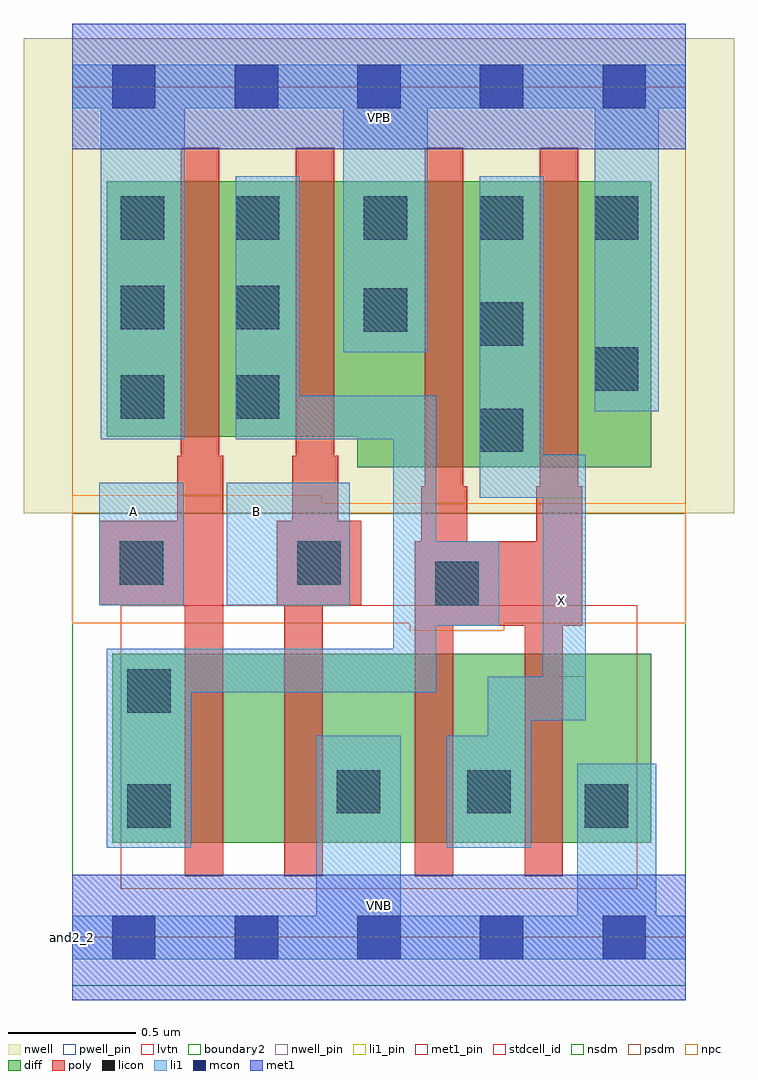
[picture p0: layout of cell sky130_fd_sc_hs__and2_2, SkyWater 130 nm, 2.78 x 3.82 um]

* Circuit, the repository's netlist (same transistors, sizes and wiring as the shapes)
* Copyright 2020 The SkyWater PDK Authors
*
* Licensed under the Apache License, Version 2.0 (the "License");
* you may not use this file except in compliance with the License.
* You may obtain a copy of the License at
*
*     https://www.apache.org/licenses/LICENSE-2.0
*
* Unless required by applicable law or agreed to in writing, software
* distributed under the License is distributed on an "AS IS" BASIS,
* WITHOUT WARRANTIES OR CONDITIONS OF ANY KIND, either express or implied.
* See the License for the specific language governing permissions and
* limitations under the License.
*
* SPDX-License-Identifier: Apache-2.0


.subckt sky130_fd_sc_hs__and2_2 A B VGND VNB VPB VPWR X
X0 a_31_74# B VPWR VPB sky130_fd_pr__pfet_01v8 w=1 l=150000u
X1 X a_31_74# VGND VNB sky130_fd_pr__nfet_01v8_lvt w=740000u l=150000u
X2 X a_31_74# VPWR VPB sky130_fd_pr__pfet_01v8 w=1.12 l=150000u
X3 a_118_74# B VGND VNB sky130_fd_pr__nfet_01v8_lvt w=740000u l=150000u
X4 a_31_74# A a_118_74# VNB sky130_fd_pr__nfet_01v8_lvt w=740000u l=150000u
X5 VPWR A a_31_74# VPB sky130_fd_pr__pfet_01v8 w=1 l=150000u
X6 VPWR a_31_74# X VPB sky130_fd_pr__pfet_01v8 w=1.12 l=150000u
X7 VGND a_31_74# X VNB sky130_fd_pr__nfet_01v8_lvt w=740000u l=150000u
.ends

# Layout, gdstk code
import gdstk
lib = gdstk.Library(unit=1e-6, precision=1e-09)
def R(c, l, rs):  # rectangles x0, y0, x1, y1
    for r in rs: c.add(gdstk.rectangle(r[:2], r[2:], *l))
def A(c, l, x, y, w, h, nx, ny, dx, dy):  # array of equal rectangles
    R(c, l, [(x+i*dx, y+j*dy, x+i*dx+w, y+j*dy+h) for i in range(nx) for j in range(ny)])
def P(c, l, *ps):  # polygons
    for p in ps: c.add(gdstk.Polygon(p, *l))
nwell_pin = (64, 16)
nwell = (64, 20)
diff = (65, 20)
poly = (66, 20)
licon = (66, 44)
li1_pin = (67, 16)
li1 = (67, 20)
mcon = (67, 44)
met1_pin = (68, 16)
met1 = (68, 20)
stdcell_id = (81, 4)
nsdm = (93, 44)
psdm = (94, 20)
npc = (95, 20)
pwell_pin = (122, 16)
lvtn = (125, 44)
boundary2 = (236, 0)

sky130_fd_sc_hs__and2_2 = lib.new_cell('sky130_fd_sc_hs__and2_2')
R(sky130_fd_sc_hs__and2_2, nwell_pin, [(0,3.085,2.4,3.33)])
R(sky130_fd_sc_hs__and2_2, nwell, [(-0.19,1.66,2.59,3.52)])
R(sky130_fd_sc_hs__and2_2, diff, [(0.155,0.37,2.265,1.11)])
P(sky130_fd_sc_hs__and2_2, diff, [(1.115,1.84),(1.115,1.96),(0.135,1.96),(0.135,2.96),(2.265,2.96),(2.265,1.84)])
P(sky130_fd_sc_hs__and2_2, poly, [(1.34,0.24),(1.34,1.55),(1.365,1.55),(1.365,1.765),(1.38,1.765),(1.38,3.09),(1.53,3.09),(1.53,1.765),(1.545,1.765),(1.545,1.55),(1.815,1.55),(1.815,1.765),(1.83,1.765),(1.83,3.09),(1.98,3.09),(1.98,1.765),(1.995,1.765),(1.995,1.22),(1.92,1.22),(1.92,0.24),(1.77,0.24),(1.77,1.22),(1.49,1.22),(1.49,0.24)],
  [(0.83,0.24),(0.83,1.3),(0.8,1.3),(0.8,1.63),(0.86,1.63),(0.86,1.885),(0.875,1.885),(0.875,3.09),(1.025,3.09),(1.025,1.885),(1.04,1.885),(1.04,1.63),(1.13,1.63),(1.13,1.3),(0.98,1.3),(0.98,0.24)],
  [(0.44,0.24),(0.44,1.3),(0.105,1.3),(0.105,1.63),(0.41,1.63),(0.41,1.885),(0.425,1.885),(0.425,3.09),(0.575,3.09),(0.575,1.885),(0.59,1.885),(0.59,0.24)])
A(sky130_fd_sc_hs__and2_2, licon, 1.595, 1.9, 0.17, 0.17, 1, 3, 0, 0.415)
A(sky130_fd_sc_hs__and2_2, licon, 0.19, 2.03, 0.17, 0.17, 1, 3, 0, 0.35)
A(sky130_fd_sc_hs__and2_2, licon, 0.64, 2.03, 0.17, 0.17, 1, 3, 0, 0.35)
R(sky130_fd_sc_hs__and2_2, licon, [(0.215,0.43,0.385,0.6), (2.005,0.43,2.175,0.6), (1.035,0.485,1.205,0.655), (1.545,0.485,1.715,0.655), (0.215,0.88,0.385,1.05), (1.42,1.3,1.59,1.47), (0.185,1.38,0.355,1.55), (0.88,1.38,1.05,1.55), (2.045,2.14,2.215,2.31), (1.14,2.37,1.31,2.54), (1.14,2.73,1.31,2.9), (2.045,2.73,2.215,2.9)])
R(sky130_fd_sc_hs__and2_2, li1_pin, [(1.84,1.02,2.01,1.72), (0.105,1.3,0.435,1.78), (0.605,1.3,1.085,1.78)])
R(sky130_fd_sc_hs__and2_2, li1, [(0.105,1.3,0.435,1.78), (0.605,1.3,1.085,1.78)])
P(sky130_fd_sc_hs__and2_2, li1, [(0,-0.085),(0,0.085),(0.955,0.085),(0.955,0.79),(1.285,0.79),(1.285,0.085),(1.975,0.085),(1.975,0.68),(2.285,0.68),(2.285,0.085),(2.4,0.085),(2.4,-0.085)],
  [(0.11,1.95),(0.11,3.245),(0,3.245),(0,3.415),(2.4,3.415),(2.4,3.245),(2.295,3.245),(2.295,2.06),(2.045,2.06),(2.045,3.245),(1.39,3.245),(1.39,2.29),(1.06,2.29),(1.06,3.245),(0.44,3.245),(0.44,1.95)],
  [(1.465,0.35),(1.465,0.79),(1.625,0.79),(1.625,1.02),(1.84,1.02),(1.84,1.72),(1.595,1.72),(1.595,2.98),(1.845,2.98),(1.845,1.89),(2.01,1.89),(2.01,0.85),(1.795,0.85),(1.795,0.35)],
  [(0.135,0.35),(0.135,1.13),(1.255,1.13),(1.255,1.95),(0.64,1.95),(0.64,2.98),(0.89,2.98),(0.89,2.12),(1.425,2.12),(1.425,1.55),(1.67,1.55),(1.67,1.22),(1.425,1.22),(1.425,0.96),(0.465,0.96),(0.465,0.35)])
A(sky130_fd_sc_hs__and2_2, mcon, 0.155, -0.085, 0.17, 0.17, 5, 2, 0.48, 3.33)
R(sky130_fd_sc_hs__and2_2, met1_pin, [(0,-0.245,2.4,0.245), (0,3.085,2.4,3.575)])
R(sky130_fd_sc_hs__and2_2, met1, [(0,-0.245,2.4,0.245), (0,3.085,2.4,3.575)])
R(sky130_fd_sc_hs__and2_2, stdcell_id, [(0,0,2.4,3.33)])
R(sky130_fd_sc_hs__and2_2, nsdm, [(0,-0.19,2.4,1.66)])
R(sky130_fd_sc_hs__and2_2, psdm, [(0,1.66,2.4,3.52)])
P(sky130_fd_sc_hs__and2_2, npc, [(1.32,1.2),(1.32,1.23),(0,1.23),(0,1.73),(0.975,1.73),(0.975,1.7),(2.4,1.7),(2.4,1.23),(1.69,1.23),(1.69,1.2)])
R(sky130_fd_sc_hs__and2_2, pwell_pin, [(0,0,2.4,0.245)])
R(sky130_fd_sc_hs__and2_2, lvtn, [(0.19,0.19,2.21,1.3)])
R(sky130_fd_sc_hs__and2_2, boundary2, [(0,0,2.4,3.33)])
sky130_fd_sc_hs__and2_2.add(gdstk.Label('and2_2', (0,0), layer=83, texttype=44))
sky130_fd_sc_hs__and2_2.add(gdstk.Label('VNB', (1.2,0.123), layer=64, texttype=59))
sky130_fd_sc_hs__and2_2.add(gdstk.Label('VPB', (1.2,3.208), layer=64, texttype=5))
sky130_fd_sc_hs__and2_2.add(gdstk.Label('VPWR', (1.2,3.208), layer=68, texttype=5))
sky130_fd_sc_hs__and2_2.add(gdstk.Label('VGND', (1.2,0.123), layer=68, texttype=5))
sky130_fd_sc_hs__and2_2.add(gdstk.Label('X', (1.916,1.318), layer=67, texttype=16))
sky130_fd_sc_hs__and2_2.add(gdstk.Label('A', (0.24,1.665), layer=67, texttype=5))
sky130_fd_sc_hs__and2_2.add(gdstk.Label('B', (0.72,1.665), layer=67, texttype=5))

lib.write_gds('sky130_fd_sc_hs__and2_2.gds')
